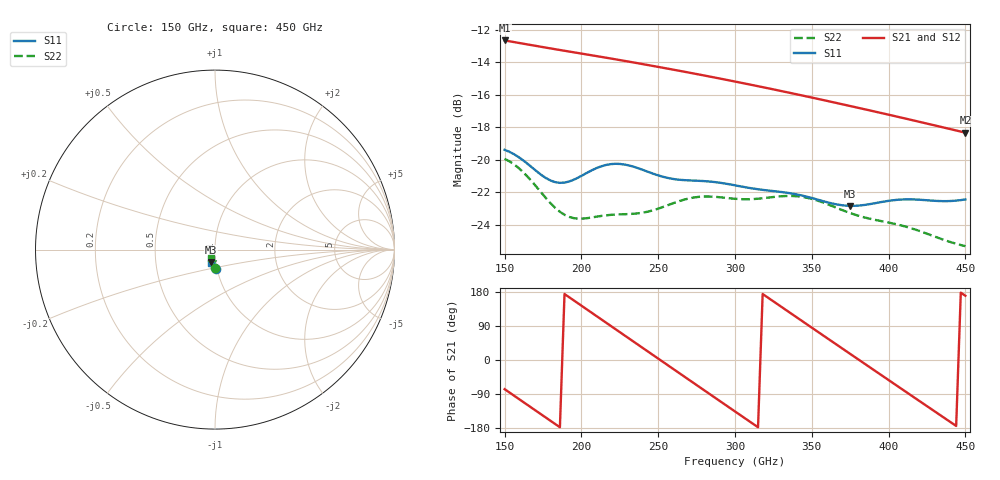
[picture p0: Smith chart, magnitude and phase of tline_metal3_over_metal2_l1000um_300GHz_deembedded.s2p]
! Created with skrf 2.0.1 (http://scikit-rf.org).
# GHz S DB R 50.0
!freq dBS11 angS11 dBS21 angS21 dBS12 angS12 dBS22 angS22
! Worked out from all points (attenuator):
!   101 points, 150 GHz to 450 GHz, reference 50 ohm
!   highest |S21| = -12.64 dB at 150 GHz (marker M1); lowest = -18.3 dB at 450 GHz (marker M2)
!   lowest |S11| = -22.8 dB at 375 GHz (marker M3), VSWR 1.16, Z = 47.4 - j6.55 ohm
!   |S11| at or under -10 dB: start of sweep to end of sweep
!   |S22| runs from -25.3 to -19.9 dB; largest |S21 - S12| = 1.5e-13
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150  -19.39 -87.9  -12.64 -76.9  -12.64 -76.9  -19.94 -88.7
162  -20.03 -91.4  -12.84 -110.5  -12.84 -110.5  -20.76 -93.6
177  -21.13 -91.0  -13.09 -152.4  -13.09 -152.4  -22.37 -95.3
189  -21.41 -86.8  -13.28 174.1  -13.28 174.1  -23.40 -91.2
201  -20.94 -84.8  -13.47 140.6  -13.47 140.6  -23.63 -86.1
213  -20.40 -87.3  -13.66 107.1  -13.66 107.1  -23.47 -83.8
225  -20.26 -92.1  -13.85 73.5  -13.85 73.5  -23.37 -83.4
240  -20.63 -97.2  -14.10 31.6  -14.10 31.6  -23.26 -82.6
252  -21.02 -99.0  -14.31 -1.9  -14.31 -1.9  -22.95 -82.4
264  -21.24 -99.7  -14.52 -35.4  -14.52 -35.4  -22.54 -84.1
276  -21.30 -100.8  -14.73 -68.9  -14.73 -68.9  -22.29 -87.5
288  -21.39 -102.7  -14.95 -102.3  -14.95 -102.3  -22.29 -91.0
300  -21.58 -104.5  -15.18 -135.8  -15.18 -135.8  -22.41 -93.5
321  -21.89 -106.3  -15.58 165.8  -15.58 165.8  -22.34 -96.9
336  -22.07 -107.8  -15.88 124.2  -15.88 124.2  -22.23 -101.3
351  -22.39 -109.2  -16.19 82.6  -16.19 82.6  -22.44 -106.7
375  -22.84 -107.6  -16.69 16.1  -16.69 16.1  -23.29 -112.1
387  -22.75 -106.4  -16.94 -17.0  -16.94 -17.0  -23.62 -113.2
402  -22.51 -106.6  -17.26 -58.4  -17.26 -58.4  -23.92 -114.8
423  -22.49 -108.3  -17.73 -116.3  -17.73 -116.3  -24.49 -117.5
438  -22.55 -108.1  -18.06 -157.5  -18.06 -157.5  -25.01 -118.0
450  -22.45 -107.5  -18.33 169.5  -18.33 169.5  -25.33 -117.5
